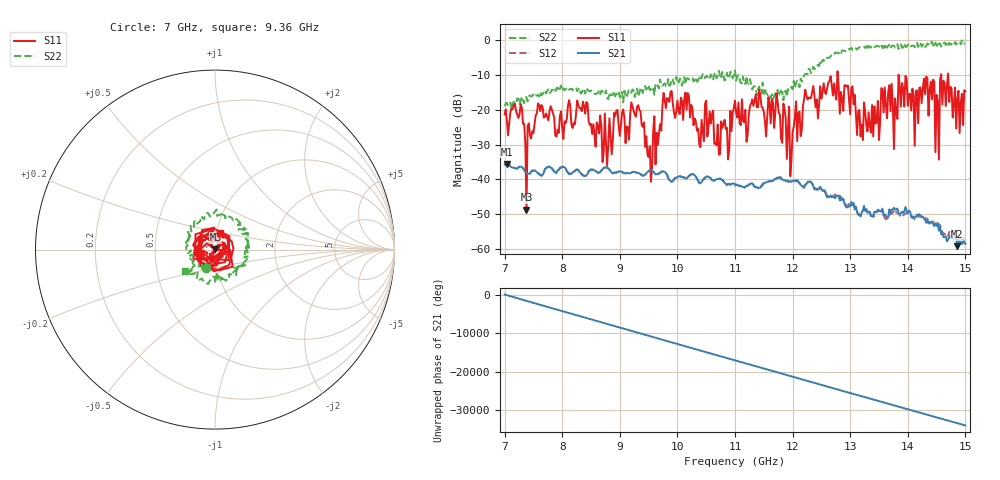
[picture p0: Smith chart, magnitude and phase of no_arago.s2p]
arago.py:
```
# -*- coding: utf-8 -*-
# /// script
# requires-python = ">=3.12"
# dependencies = [
#     "matplotlib",
#     "numpy",
#     "scikit-rf",
# ]
# ///
"""
Created on Sat Apr 26 08:42:35 2025

@author: carbonnelleg
"""

import skrf as rf
import numpy as np
from matplotlib import pyplot as plt
"""
_______________________________________________________________________________
Importing VNA data
"""
x_offset = np.arange(0, 70, 5)
ref_ntw = rf.Network(__file__ + '/../data/no_arago.s2p')
arago_ntws = [rf.Network(__file__ + f'/../data/arago_{x}.s2p')/ref_ntw for x in x_offset]

mean_pow = [np.mean(np.abs(ntw.s[:,1,0])) for ntw in arago_ntws]
f_11Ghz_pow = [ntw.s[ntw.f.size//2,1,0] for ntw in arago_ntws]

plt.figure()
plt.plot(x_offset, 20*np.log10(mean_pow), label='Average over all frequencies')
plt.plot(x_offset, 20*np.log10(np.abs(f_11Ghz_pow)), label='Power at f = 11 GHz')
plt.legend()
plt.xlabel('Offset [cm]')
plt.ylabel('Magnitude [dB]')

plt.figure()
for i, ntw in enumerate(arago_ntws[5:8], start=5):
    ntw.name = f'Offset of {x_offset[i]} cm'
    ntw.plot_s_db(m=0, n=1)
plt.show()
```
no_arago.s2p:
! 4/11/2025 3:37:11 PM
! C:\ANRITSUVNA\LELEC2350\LAB1_2025\GROUP1_NO_ARGO.S2P
! CHANNEL.1
! TR.MEASUREMENT
! CORRECTED.DATA
! RF.CORRECTION: FULL.TWO.PORT.CAL.PORT.1.2
! AVERAGING.OFF
! IF.BANDWIDTH: 300HZ
! SWEEPTYPE:  FREQ.SWEEP(Linear)
! Reference Plane Port Info
! PORT:  PORT1  PORT2
! DISTANCE:  0  m  0  m
! TIME:  0  s  0  s
! PHASE.OFFSET:  0 °  0 °
! LOSS:  0  dB  0  dB
! REF.LOSS:  0  dB  0  dB
! REF.FREQ:  0  Hz  0  Hz
! Power Info
! POWER:  5  dBm  5  dBm
! EFF.POWER:  5  dBm  5  dBm
# GHZ S RI R 50.0
! FREQ.GHZ  S11RE  S11IM  S21RE  S21IM  S12RE  S12IM  S22RE  S22IM
!; PortSelection: Port_12
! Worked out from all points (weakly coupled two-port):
!   401 points, 7 GHz to 15 GHz, reference 50 ohm
!   highest |S21| = -35.60 dB at 7.04 GHz (marker M1); lowest = -59.2 dB at 14.86 GHz (marker M2)
!   lowest |S11| = -48.7 dB at 7.38 GHz (marker M3), VSWR 1.01, Z = 50.3 + j0.24 ohm
!   |S11| at or under -10 dB: start of sweep to 12.78 GHz; 12.79 GHz to 13.84 GHz (1.055 GHz wide, 7.92 % of centre); 13.84 GHz to 14.58 GHz (735.8 MHz wide, 5.18 % of centre)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
!   |S22| runs from -19.8 to 0.0 dB; largest |S21 - S12| = 0.00085
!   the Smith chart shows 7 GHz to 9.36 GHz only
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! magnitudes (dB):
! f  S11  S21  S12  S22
! 7 GHz  -21.3  -35.8  -35.8  -19.0
! 7.04 GHz  -23.3  -35.6  -35.7  -18.0
! 7.38 GHz  -48.7  -37.9  -37.8  -16.4
! 7.62 GHz  -20.4  -38.8  -38.7  -14.9
! 8.74 GHz  -21.0  -36.6  -36.6  -15.6
! 9.32 GHz  -18.6  -38.2  -38.2  -16.1
! 9.52 GHz  -30.4  -37.5  -37.5  -14.3
! 9.86 GHz  -17.7  -40.2  -40.2  -13.1
! 11 GHz  -17.4  -41.5  -41.8  -8.7
! 14.86 GHz  -16.9  -59.2  -57.5  -0.7
! 15 GHz  -14.6  -58.5  -58.4  -0.8
